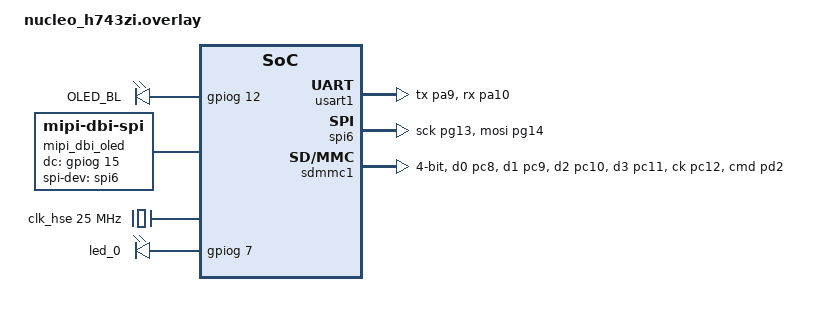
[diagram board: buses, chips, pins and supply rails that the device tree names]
/*
 * Copyright (c) 2026
 * SPDX-License-Identifier: Apache-2.0
 *
 * Devicetree overlay for the OLED + SD demo on STM32H743 (nucleo_h743zi board).
 *
 * OLED  : ST7789 240x240, driven over SPI6 (PG13 SCK / PG14 MOSI / PG8 NSS-CS)
 *         DC = PG15, BackLight = PG12 (GPIO, turned on by the app).
 * SD    : SDMMC1 4-bit (PC8..PC11 / PC12 CLK / PD2 CMD).
 * UART  : USART1 (PA9 TX / PA10 RX) used as Zephyr console / debug serial.
 */

#include <zephyr/dt-bindings/gpio/gpio.h>
#include <zephyr/dt-bindings/pinctrl/stm32-pinctrl.h>
#include <zephyr/dt-bindings/mipi_dbi/mipi_dbi.h>

/ {
    chosen {
        zephyr,console = &usart1;
        zephyr,shell-uart = &usart1;
        zephyr,display = &DISPLAY;
    };

    /* OLED backlight (active-high GPIO on PG12) */
    oled_bl: oled_bl {
        compatible = "gpio-leds";
        bl_0: bl_0 {
            gpios = <&gpiog 12 GPIO_ACTIVE_HIGH>;
            label = "OLED_BL";
        };
    };

    /* MIPI-DBI SPI wrapper around SPI6; the ST7789 hangs off it as a child */
    mipi_dbi_oled: mipi_dbi_oled {
        compatible = "zephyr,mipi-dbi-spi";
        spi-dev = <&spi6>;
        dc-gpios = <&gpiog 15 GPIO_ACTIVE_HIGH>;
        write-only;
        #address-cells = <1>;
        #size-cells = <0>;

        DISPLAY: st7789v@0 {
            compatible = "sitronix,st7789v";
            reg = <0>;
            label = "DISPLAY";
            width = <240>;
            height = <240>;
            x-offset = <0>;
            y-offset = <0>;
            vcom = <0x19>;
            gctrl = <0x35>;
            vrhs = <0x12>;
            vdvs = <0x20>;
            mdac = <0x00>;
            gamma = <0x01>;
            colmod = <0x05>;
            lcm = <0x2c>;
            porch-param = [0c 0c 00 33 33];
            cmd2en-param = [5a 69 02 01];
            pwctrl1-param = [a4 a1];
            pvgam-param = [D0 04 0D 11 13 2B 3F 54 4C 18 0D 0B 1F 23];
            nvgam-param = [D0 04 0C 11 13 2C 3F 44 51 2F 1F 1F 20 23];
            ram-param = [00 F0];
            rgb-param = [CD 08 14];
            mipi-mode = <MIPI_DBI_MODE_SPI_4WIRE>;
            mipi-max-frequency = <DT_FREQ_M(20)>;
        };
    };
};

&usart1 {
    pinctrl-0 = <&usart1_tx_pa9 &usart1_rx_pa10>;
    pinctrl-names = "default";
    status = "okay";
};

&spi6 {
    pinctrl-0 = <&spi6_sck_pg13 &spi6_mosi_pg14>;
    pinctrl-names = "default";
    cs-gpios = <&gpiog 8 GPIO_ACTIVE_LOW>;
    status = "okay";
};

&sdmmc1 {
    pinctrl-0 = <&sdmmc1_d0_pc8 &sdmmc1_d1_pc9
                 &sdmmc1_d2_pc10 &sdmmc1_d3_pc11
                 &sdmmc1_ck_pc12 &sdmmc1_cmd_pd2>;
    pinctrl-names = "default";
    bus-width = <4>;
    idma;
    status = "okay";
    /* Card-detect is board specific; the driver will poll if omitted. */
};

/* ---------------------------------------------------------------------------
 * Clock tree: the target board uses a 25 MHz passive crystal, NOT the Nucleo's
 * 8 MHz ST-Link bypass clock.  Drop hse-bypass (crystal oscillator mode) and
 * re-derive the PLL reference divider so the VCO stays at 960 MHz and SYSCLK
 * (div-p) remains 480 MHz — only the HSE/ref divider changes.
 *   pll : 25 / 5 * 192 / 2 = 480 MHz
 *   pll2: 25 / 5 * 48  / 3 =  80 MHz (FDCAN, unchanged)
 * -------------------------------------------------------------------------*/
&clk_hse {
    /delete-property/ hse-bypass;
    clock-frequency = <DT_FREQ_M(25)>;
};

&pll {
    div-m = <5>;
    mul-n = <192>;
    div-q = <20>;   /* PLL1Q = 960/20 = 48 MHz: SDMMC kernel clock (driver
                       requires exactly 48 MHz under CLOCK_CHECK). */
};

&pll2 {
    div-m = <5>;
    mul-n = <48>;
};

/* The target board's user LED is PG7 (Nucleo's green_led is PB0).  Override
 * the board LED so the app heartbeat drives the real LED.  Must match the
 * existing child *node name* (led_0); using the label would create a new
 * child instead of overriding it. */
&leds {
    led_0 {
        gpios = <&gpiog 7 GPIO_ACTIVE_HIGH>;
    };
};
